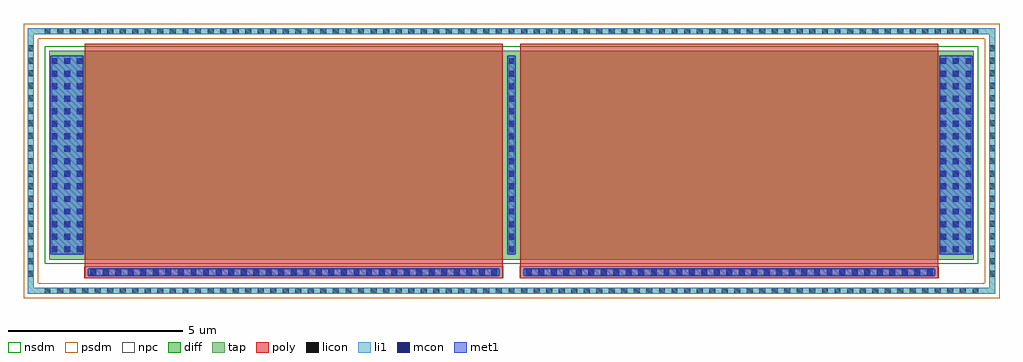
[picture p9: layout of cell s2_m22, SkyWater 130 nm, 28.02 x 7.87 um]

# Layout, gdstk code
import gdstk
lib = gdstk.Library(unit=1e-6, precision=1e-09)
def R(c, l, rs):  # rectangles x0, y0, x1, y1
    for r in rs: c.add(gdstk.rectangle(r[:2], r[2:], *l))
def A(c, l, x, y, w, h, nx, ny, dx, dy):  # array of equal rectangles
    R(c, l, [(x+i*dx, y+j*dy, x+i*dx+w, y+j*dy+h) for i in range(nx) for j in range(ny)])
def P(c, l, *ps):  # polygons
    for p in ps: c.add(gdstk.Polygon(p, *l))
diff = (65, 20)
tap = (65, 44)
poly = (66, 20)
licon = (66, 44)
li1 = (67, 20)
mcon = (67, 44)
met1 = (68, 20)
nsdm = (93, 44)
psdm = (94, 20)
npc = (95, 20)

s2_m22 = lib.new_cell('s2_m22')
R(s2_m22, diff, [(0,0,26.54,6)])
P(s2_m22, tap, [(-0.615,-0.98),(-0.615,6.47),(-0.445,6.47),(-0.445,-0.81),(26.985,-0.81),(26.985,6.47),(-0.615,6.47),(-0.615,6.64),(27.155,6.64),(27.155,-0.98)])
R(s2_m22, poly, [(1.02,-0.53,13.02,-0.2), (13.52,-0.53,25.52,-0.2), (1.02,-0.2,13.02,6.2), (13.52,-0.2,25.52,6.2)])
A(s2_m22, licon, -0.135, -0.98, 0.17, 0.17, 75, 2, 0.36, 7.45)
A(s2_m22, licon, -0.615, -0.495, 0.17, 0.17, 1, 19, 0, 0.36)
A(s2_m22, licon, 26.985, -0.495, 0.17, 0.17, 1, 19, 0, 0.36)
A(s2_m22, licon, 1.175, -0.45, 0.17, 0.17, 33, 1, 0.36, 0)
A(s2_m22, licon, 13.675, -0.45, 0.17, 0.17, 33, 1, 0.36, 0)
A(s2_m22, licon, 0.065, 0.215, 0.17, 0.17, 3, 16, 0.36, 0.36)
A(s2_m22, licon, 13.185, 0.215, 0.17, 0.17, 1, 16, 0, 0.36)
A(s2_m22, licon, 25.585, 0.215, 0.17, 0.17, 3, 16, 0.36, 0.36)
R(s2_m22, li1, [(1.095,-0.45,12.945,-0.28), (13.595,-0.45,25.445,-0.28), (0.065,0.135,0.955,5.865), (13.185,0.135,13.355,5.865), (25.585,0.135,26.475,5.865)])
P(s2_m22, li1, [(-0.615,-0.98),(-0.615,6.47),(-0.445,6.47),(-0.445,-0.81),(26.985,-0.81),(26.985,6.47),(-0.615,6.47),(-0.615,6.64),(27.155,6.64),(27.155,-0.98)])
A(s2_m22, mcon, 1.175, -0.45, 0.17, 0.17, 33, 1, 0.36, 0)
A(s2_m22, mcon, 13.675, -0.45, 0.17, 0.17, 33, 1, 0.36, 0)
A(s2_m22, mcon, 0.065, 0.215, 0.17, 0.17, 3, 16, 0.36, 0.36)
A(s2_m22, mcon, 13.185, 0.215, 0.17, 0.17, 1, 16, 0, 0.36)
A(s2_m22, mcon, 25.585, 0.215, 0.17, 0.17, 3, 16, 0.36, 0.36)
R(s2_m22, met1, [(1.115,-0.48,12.925,-0.25), (13.615,-0.48,25.425,-0.25), (0.035,0.155,0.985,5.845), (13.155,0.155,13.385,5.845), (25.555,0.155,26.505,5.845)])
R(s2_m22, nsdm, [(-0.125,-0.125,26.665,6.125)])
P(s2_m22, psdm, [(-0.74,-1.105),(-0.74,6.345),(-0.32,6.345),(-0.32,-0.685),(26.86,-0.685),(26.86,6.345),(-0.74,6.345),(-0.74,6.765),(27.28,6.765),(27.28,-1.105)])
R(s2_m22, npc, [(1.01,-0.54,13.03,-0.19), (13.51,-0.54,25.53,-0.19)])

lib.write_gds('s2_m22.gds')
